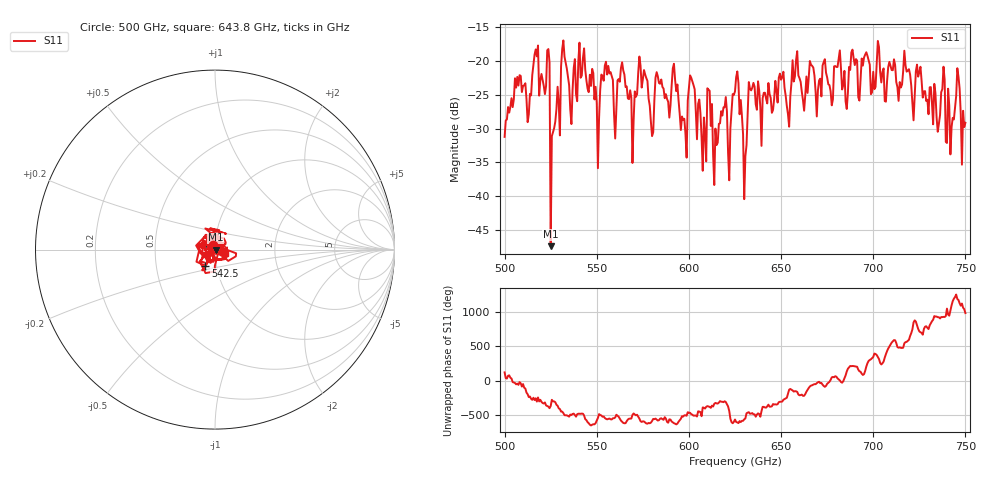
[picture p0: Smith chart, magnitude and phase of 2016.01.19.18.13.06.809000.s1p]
!Created with skrf (http://scikit-rf.org).
# GHz S RI R 50.0
!freq ReS11 ImS11
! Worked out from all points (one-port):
!   401 points, 500 GHz to 750 GHz, reference 50 ohm
!   lowest |S11| = -47.3 dB at 525 GHz (marker M1), VSWR 1.01, Z = 50.4 - j0.0744 ohm
!   |S11| at or under -10 dB: start of sweep to end of sweep
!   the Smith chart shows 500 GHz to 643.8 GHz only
!   S11 on the Smith chart (normalised r, x): 500 GHz: 0.97, +0.05; 542.5 GHz: 0.88, -0.16; 643.8 GHz: 1.11, -0.04
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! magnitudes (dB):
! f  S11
! 500 GHz  -31.2
! 506.9 GHz  -22.4
! 513.1 GHz  -27.9
! 516.9 GHz  -18.3
! 523.1 GHz  -18.5
! 525 GHz  -47.3
! 526.2 GHz  -30.5
! 531.2 GHz  -18.3
! 542.5 GHz  -19.6
! 550 GHz  -26.3
! 562.5 GHz  -23.1
! 568.8 GHz  -25.4
! 573.8 GHz  -20.7
! 579.4 GHz  -29.0
! 593.8 GHz  -23.5
! 597.5 GHz  -28.6
! 601.9 GHz  -23.1
! 608.1 GHz  -28.4
! 611.2 GHz  -24.4
! 614.4 GHz  -30.0
! 625 GHz  -24.5
! 630 GHz  -40.4
! 633.8 GHz  -24.4
! 643.8 GHz  -24.9
! 656.2 GHz  -19.9
! 687.5 GHz  -21.4
! 718.8 GHz  -21.5
! 750 GHz  -29.1
